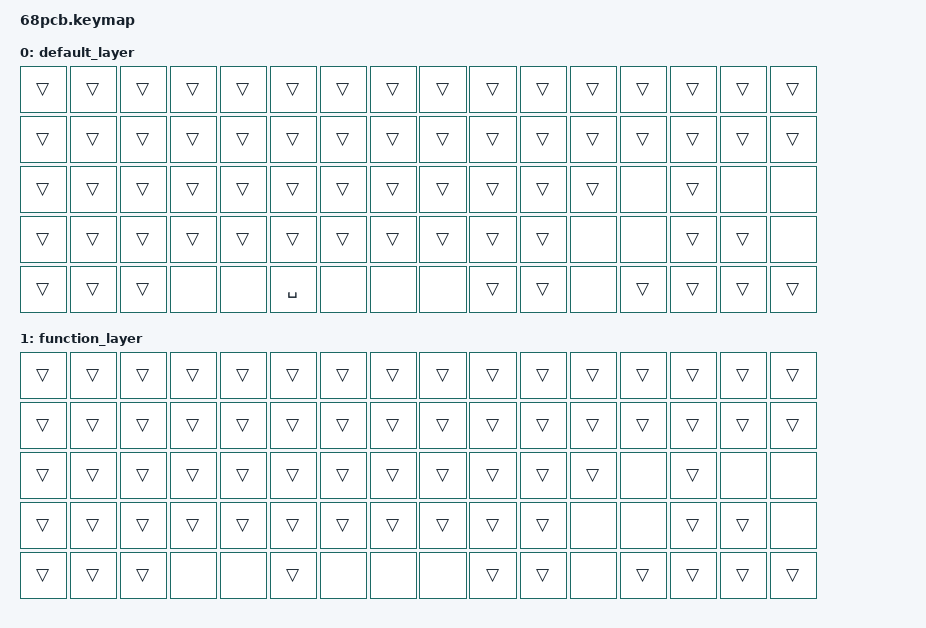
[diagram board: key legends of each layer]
/*
 * Copyright (c) 2020 The ZMK Contributors
 *
 * SPDX-License-Identifier: MIT
 */

#include <behaviors.dtsi>
#include <dt-bindings/zmk/keys.h>
#include <dt-bindings/zmk/bt.h>
#include <dt-bindings/zmk/outputs.h>

#define DEF 0
#define FUN 1

/ {
    macros {
        /* è: `E */
        ma_1: ma_1 {
            label = "ma_1";
            compatible = "zmk,behavior-macro";
            #binding-cells = <0>;
            bindings
                = <&macro_tap &kp GRAVE>
                , <&macro_tap &kp E>
                ;
        };										
        /* ù: `U */
        ma_2: ma_2 {
            label = "ma_2";
            compatible = "zmk,behavior-macro";
            #binding-cells = <0>;
            bindings
                = <&macro_tap &kp GRAVE>
                , <&macro_tap &kp U>
                ;
        };										
        /* ì: `I */
        ma_3: ma_3 {
            label = "ma_3";
            compatible = "zmk,behavior-macro";
            #binding-cells = <0>;
            bindings
                = <&macro_tap &kp GRAVE>
                , <&macro_tap &kp I>
                ;
        };										
        /* ò: `O */
        ma_4: ma_4 {
            label = "ma_4";
            compatible = "zmk,behavior-macro";
            #binding-cells = <0>;
            bindings
                = <&macro_tap &kp GRAVE>
                , <&macro_tap &kp O>
                ;
        };							
        /* à: `A */
        ma_5: ma_5 {
            label = "ma_5";
            compatible = "zmk,behavior-macro";
            #binding-cells = <0>;
            bindings
                = <&macro_tap &kp GRAVE>
                , <&macro_tap &kp A>
                ;
        };							
        /* ': '  */
        ma_6: ma_6 {
            label = "ma_6";
            compatible = "zmk,behavior-macro";
            #binding-cells = <0>;
            bindings
                = <&macro_tap &kp SQT>
                , <&macro_tap &kp SPACE>
                ;
        };									
        /* `:`  */
        ma_7: ma_7 {
            label = "ma_7";
            compatible = "zmk,behavior-macro";
            #binding-cells = <0>;
            bindings
                = <&macro_tap &kp GRAVE>
                , <&macro_tap &kp SPACE>
                ;
        };									
        /* ²: Alt253 */
        ma_8: ma_8 {
            label = "ma_8";
            compatible = "zmk,behavior-macro";
            #binding-cells = <0>;
            bindings
                = <&macro_press &kp LALT>
                , <&macro_tap &kp KP_N2>
                , <&macro_tap &kp KP_N5>
                , <&macro_tap &kp KP_N3>				
                , <&macro_release &kp LALT>
                ;
        };								
        /* ~: Alt126 */
        ma_9: ma_9 {
            label = "ma_9";
            compatible = "zmk,behavior-macro";
            #binding-cells = <0>;
            bindings
                = <&macro_press &kp LALT>
                , <&macro_tap &kp KP_N1>
                , <&macro_tap &kp KP_N2>
                , <&macro_tap &kp KP_N6>				
                , <&macro_release &kp LALT>
                ;
        };										
        /* ×: Alt0215 */
        ma_10: ma_10 {
            label = "ma_10";
            compatible = "zmk,behavior-macro";
            #binding-cells = <0>;
            bindings
                = <&macro_press &kp LALT>
                , <&macro_tap &kp KP_N0>
                , <&macro_tap &kp KP_N2>				
                , <&macro_tap &kp KP_N1>
                , <&macro_tap &kp KP_N5>				
                , <&macro_release &kp LALT>
                ;
        };									
        /* ÷: Alt0247 */
        ma_11: ma_11 {
            label = "ma_11";
            compatible = "zmk,behavior-macro";
            #binding-cells = <0>;
            bindings
                = <&macro_press &kp LALT>
                , <&macro_tap &kp KP_N0>
                , <&macro_tap &kp KP_N2>				
                , <&macro_tap &kp KP_N4>
                , <&macro_tap &kp KP_N7>				
                , <&macro_release &kp LALT>
                ;
        };								
    };
};

/ {
    behaviors {
        ht: hold_tap {
            compatible = "zmk,behavior-hold-tap";
            label = "Hold Tap";
            #binding-cells = <2>;
            tapping-term-ms = <200>;
            flavor = "tap-preferred";
            bindings = <&kp>, <&kp>;
        };
    };

    keymap {
        compatible = "zmk,keymap";

        default_layer {
            bindings = <
&trans &trans &trans &trans &trans &trans    &trans &trans &trans &trans &trans &trans &trans &trans &trans &trans
&trans &trans &trans &trans &trans &trans    &trans &trans &trans &trans &trans &trans &trans &trans &trans &trans
&trans &trans &trans &trans &trans &trans    &trans &trans &trans &trans &trans &trans &none  &trans &none  &none
&trans &trans &trans &trans &trans &trans    &trans &trans &trans &trans &trans &none  &none  &trans &trans &none
&trans &trans &trans &none  &none  &kp SPACE &none  &none  &none  &trans &trans &none  &trans &trans &trans &trans          
            >;
        };

        function_layer {
            bindings = <
&trans &trans &trans &trans &trans &trans &trans &trans &trans &trans &trans &trans &trans &trans &trans &trans
&trans &trans &trans &trans &trans &trans &trans &trans &trans &trans &trans &trans &trans &trans &trans &trans
&trans &trans &trans &trans &trans &trans &trans &trans &trans &trans &trans &trans &none  &trans &none  &none
&trans &trans &trans &trans &trans &trans &trans &trans &trans &trans &trans &none  &none  &trans &trans &none
&trans &trans &trans &none  &none  &trans &none  &none  &none  &trans &trans &none  &trans &trans &trans &trans       
            >;
        };

    };
};
